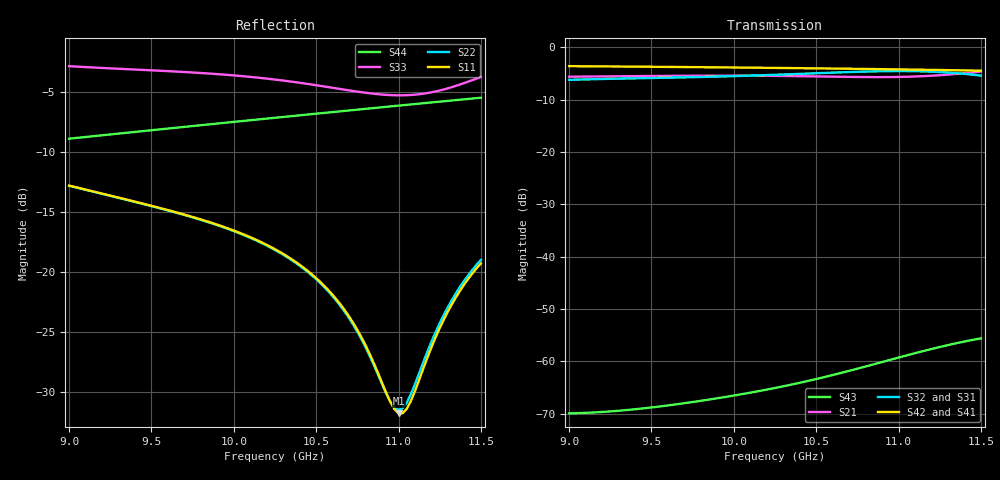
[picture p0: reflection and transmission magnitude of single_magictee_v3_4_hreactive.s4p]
! Touchstone file exported from HFSS 2025.2.4
!  File:  //wsl.localhost/Ubuntu/tmp/hfss-r11/hfss/output_v3_4_jacobian/h_throat_a_plus/single_magictee_v3_4_hreactive.aedt
!  Generated:  03:00:33 PM Sep 22, 2026
!  Design:  SingleMagicT_v3_4_HReactiveCell
!  Project:  single_magictee_v3_4_hreactive
! Variables:
!  f_adapt = 10.2GHz
!  h_cap_height = 9mm
!  h_cap_len = 2.5mm
!  h_terminal_ridge_w = 4.572mm
!  h_throat_a = 20.8mm
!  h_throat_len = 5.5mm
!  ridge_g1 = 7.672mm
!  ridge_g2 = 5.8mm
!  ridge_l1 = 9.872mm
!  ridge_l2 = 8.857mm
!  ridge_w = 4.572mm
!  terminal_ridge_len = 7.5mm
!  wg_a = 22.86mm
!  wg_b = 10.16mm
!Data is not renormalized
# GHz S MA
! Terminal data exported
! Port[1] = P1_CollinearMinusX
! Port[2] = P2_CollinearPlusX
! Port[3] = P3_HArm_Ridged
! Port[4] = P4_EArm
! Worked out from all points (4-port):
!   101 points, 9 GHz to 11.5 GHz, reference per port
!   strongest paths, dB at 9 GHz, 9.625 GHz, 10.25 GHz, 10.88 GHz, 11.5 GHz:
!     S42: -3.6, -3.8, -3.9, -4.2, -4.5
!     S41: -3.6, -3.8, -3.9, -4.2, -4.5
!     S32: -6.2, -5.8, -5.3, -4.6, -5.4
!     S31: -6.2, -5.8, -5.3, -4.6, -5.4
!     S21: -5.6, -5.5, -5.5, -5.7, -4.6
!     S43: -69.9, -68.3, -65.1, -60.3, -55.6
!   lowest |S11| = -31.8 dB at 11 GHz (marker M1), VSWR 1.05
!   |S11| at or under -10 dB: start of sweep to end of sweep
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9  0.2295 149.8  0.5233 -175.1  0.4882 60.2  0.6596 45.6
   0.5233 -175.1  0.2291 150.1  0.4884 60.3  0.6596 -134.3
   0.4882 60.2  0.4884 60.3  0.7233 126.1  0.0003199 132.9
   0.6596 45.6  0.6596 -134.3  0.0003199 132.9  0.3602 -115.1
9.3  0.2044 117.0  0.5279 151.8  0.501 18.7  0.6546 11.2
     0.5279 151.8  0.2039 117.3  0.5012 18.8  0.6546 -168.7
     0.501 18.7  0.5012 18.8  0.7055 75.1  0.0003383 103.4
     0.6546 11.2  0.6546 -168.7  0.0003383 103.4  0.3782 -147.2
9.675  0.1755 76.7  0.5337 111.5  0.5149 -32.2  0.6475 -30.5
       0.5337 111.5  0.1749 77.1  0.5151 -32.1  0.6475 149.6
       0.5149 -32.2  0.5151 -32.1  0.6852 12.5  0.0003946 66.0
       0.6475 -30.5  0.6475 149.6  0.0003946 66.0  0.4019 173.3
10.25  0.1245 14.1  0.5327 51.7  0.5457 -109.6  0.6348 -92.3
       0.5327 51.7  0.1236 14.7  0.5457 -109.5  0.6349 87.8
       0.5457 -109.6  0.5457 -109.5  0.6359 -83.9  0.0005584 5.7
       0.6348 -92.3  0.6349 87.8  0.0005584 5.7  0.4404 114.0
10.675  0.06901 -29.3  0.5218 10.5  0.5778 -169.0  0.6238 -136.9
        0.5218 10.5  0.068 -28.0  0.5777 -168.9  0.624 43.3
        0.5778 -169.0  0.5777 -168.9  0.5766 -164.1  0.0007946 -42.4
        0.6238 -136.9  0.624 43.3  0.0007946 -42.4  0.4707 70.7
11  0.02571 -11.5  0.5207 -18.0  0.5922 142.4  0.6144 -170.5
    0.5207 -18.0  0.02657 -6.9  0.5921 142.4  0.6144 9.7
    0.5922 142.4  0.5921 142.4  0.5465 122.4  0.001089 -84.5
    0.6144 -170.5  0.6144 9.7  0.001089 -84.5  0.4949 37.8
11.5  0.1087 -3.1  0.5857 -60.3  0.5361 62.4  0.5981 138.3
      0.5857 -60.3  0.1123 -3.0  0.536 62.3  0.5975 -41.5
      0.5361 62.4  0.536 62.3  0.6521 -3.1  0.001662 -160.3
      0.5981 138.3  0.5975 -41.5  0.001662 -160.3  0.5341 -12.8
